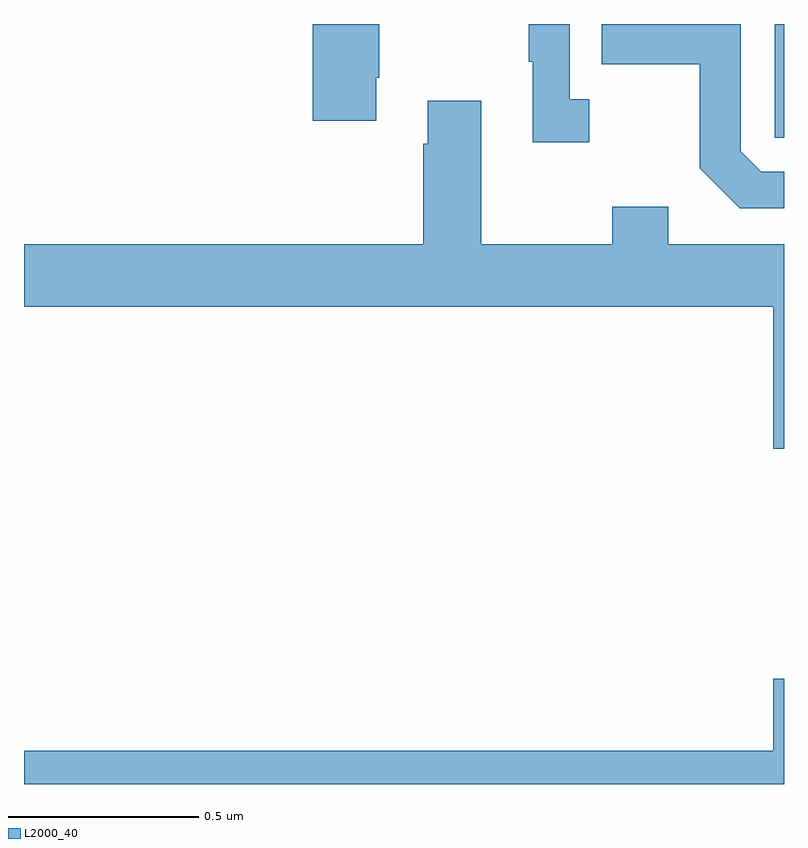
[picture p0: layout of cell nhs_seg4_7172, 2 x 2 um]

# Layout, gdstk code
import gdstk
lib = gdstk.Library(unit=1e-6, precision=1e-09)
def R(c, l, rs):  # rectangles x0, y0, x1, y1
    for r in rs: c.add(gdstk.rectangle(r[:2], r[2:], *l))
def P(c, l, *ps):  # polygons
    for p in ps: c.add(gdstk.Polygon(p, *l))
L2000_40 = (2000, 40)

nhs_seg4_7172 = lib.new_cell('nhs_seg4_7172')
R(nhs_seg4_7172, L2000_40, [(200.976,794.601,201,794.9)])
P(nhs_seg4_7172, L2000_40, [(201,794.511),(200.94,794.511),(200.886,794.565),(200.886,794.9),(200.521,794.9),(200.521,794.794),(200.778,794.794),(200.778,794.521),(200.883,794.415),(201,794.415)],
  [(200.488,794.702),(200.436,794.702),(200.436,794.9),(200.328,794.9),(200.328,794.801),(200.339,794.801),(200.339,794.589),(200.488,794.589)],
  [(199.927,794.758),(199.935,794.758),(199.935,794.9),(199.76,794.9),(199.76,794.646),(199.927,794.646)],
  [(201,794.32),(200.695,794.32),(200.695,794.419),(200.548,794.419),(200.548,794.32),(200.203,794.32),(200.203,794.698),(200.063,794.698),(200.063,794.585),(200.051,794.585),(200.051,794.32),(199,794.32),(199,794.156),(200.972,794.156),(200.972,793.782),(201,793.782)],
  [(201,793.177),(200.972,793.177),(200.972,792.988),(199,792.988),(199,792.9),(201,792.9)])

lib.write_gds('nhs_seg4_7172.gds')
